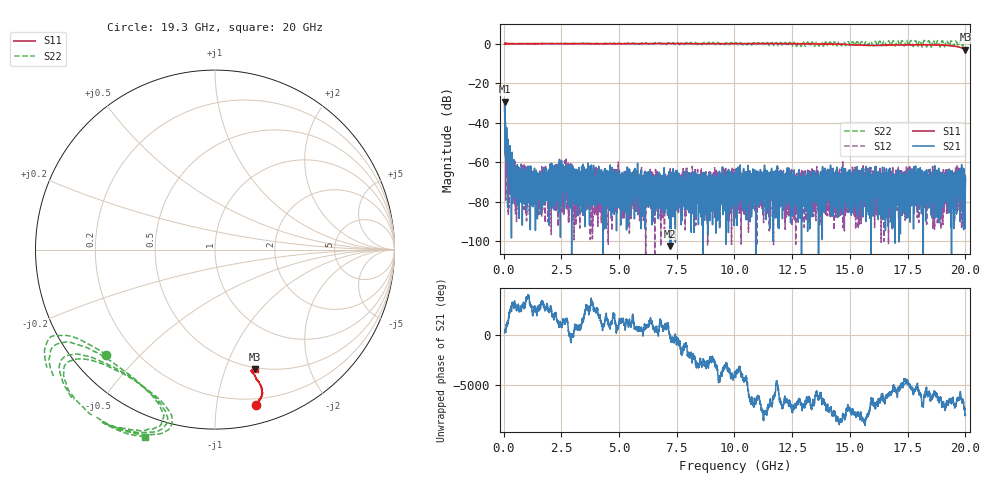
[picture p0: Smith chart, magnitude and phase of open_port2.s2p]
!Agilent Technologies,E8364A,US41440322,A.04.87.01
!Agilent E8364A: A.04.87.01
!Date: Tuesday, July 16, 2024 12:09:53
!Correction: S11(Full 2 Port SOLT,1,2) S21(Full 2 Port SOLT,1,2) S12(Full 2 Port SOLT,1,2) S22(Full 2 Port SOLT,1,2)
!S2P File: Measurements: S11, S21, S12, S22:
# Hz S  dB  R 50
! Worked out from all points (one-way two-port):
!   6401 points, 45 MHz to 20 GHz, reference 50 ohm
!   highest |S21| = -29.35 dB at 48.12 MHz (marker M1); lowest = -102.3 dB at 7.216 GHz (marker M2)
!   lowest |S11| = -3.1 dB at 20 GHz (marker M3), VSWR 5.71, Z = 24.2 - j63.4 ohm
!   |S11| at or under -10 dB: nowhere
!   |S22| runs from -1.8 to 1.6 dB; largest |S21 - S12| = 0.043
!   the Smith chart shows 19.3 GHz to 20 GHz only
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4.5e7  -0.17 5.6  -34.30 176.6  -31.50 -43.2  -0.11 0.9
4.811797e7  0.04 3.9  -29.35 -174.8  -35.50 -178.5  -0.10 -1.7
1.541289e8  0.01 5.2  -55.66 -10.0  -65.54 173.1  -0.03 2.2
2.41432e8  -0.07 8.6  -61.97 128.3  -82.98 -68.7  0.01 2.8
4.222742e8  -0.05 14.4  -63.44 -137.2  -65.60 -104.3  0.02 5.5
6.342961e8  -0.06 21.7  -72.79 149.9  -70.22 -155.9  0.01 8.1
8.432e8  -0.02 29.2  -67.12 138.7  -66.70 154.4  0.01 10.2
2.028028e9  0.01 71.1  -63.92 -107.1  -74.31 118.7  -0.05 23.7
2.42401e9  -0.02 84.9  -71.71 121.4  -71.25 -16.5  -0.04 27.8
3.371873e9  -0.01 118.2  -85.06 155.3  -75.25 -9.6  -0.05 39.3
5.005688e9  -0.02 174.8  -67.56 -128.2  -72.78 3.0  0.21 61.8
6.698745e9  0.01 -128.9  -70.87 -144.1  -67.74 146.2  -0.02 74.7
7.216328e9  0.06 -112.1  -102.34 -107.7  -89.40 87.9  -0.35 94.9
8.525875e9  -0.03 -69.1  -82.09 141.3  -69.77 -26.4  0.36 111.9
1.00225e10  -0.03 -19.9  -68.15 137.4  -75.65 -134.2  0.30 114.0
1.157213e10  0.04 32.0  -69.74 -31.3  -70.80 -26.9  0.05 128.2
1.334937e10  -0.12 94.7  -72.05 38.8  -76.43 -129.2  0.68 152.8
1.501125e10  -0.59 152.2  -64.33 -149.5  -67.86 73.0  -0.96 -173.1
1.667625e10  -0.75 -147.5  -74.14 121.2  -73.40 48.9  1.39 -160.0
1.827888e10  -0.64 -98.3  -89.73 -73.6  -78.10 -128.7  0.10 -117.7
1.927975e10  -1.00 -75.5  -74.39 96.4  -73.81 170.3  -1.12 -115.1
2e10  -3.07 -71.6  -71.24 -122.3  -69.09 -64.4  0.93 -110.6
